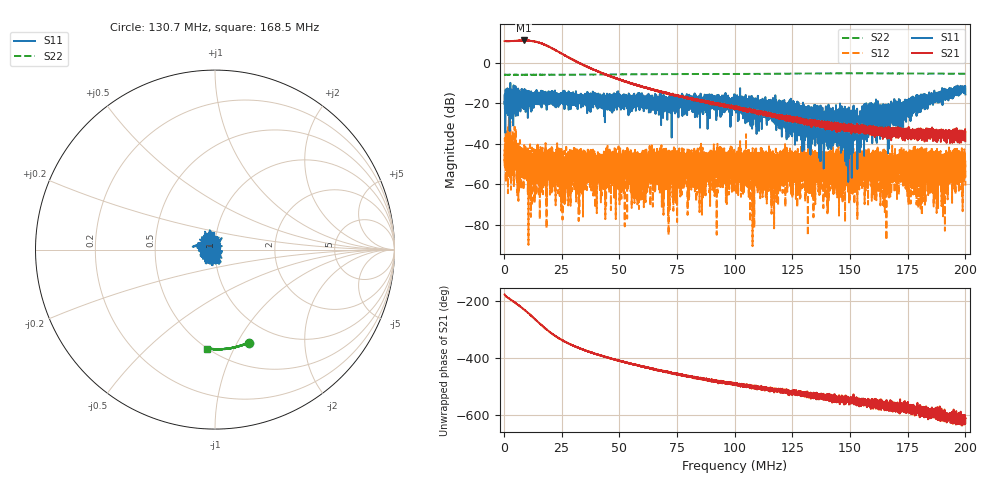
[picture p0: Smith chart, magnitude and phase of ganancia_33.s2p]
# Hz S DB R 50
! CMT, M5065, 19127446, 24.2.4/2
! Date: 11/8/2024 4:04:07 PM
! Data: Format (Calibration Info)
! Freq	S11:dB/Ang(F2)	S21:dB/Ang(F2)	S12:dB/Ang(F2)	S22:dB/Ang(F2)
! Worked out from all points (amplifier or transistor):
!   9000 points, 300 kHz to 200 MHz, reference 50 ohm
!   highest |S21| = 11.2 dB at 8.666 MHz (marker M1)
!   |S21| within 3 dB of that: start of sweep to 19.33 MHz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
!   unconditionally stable (mu >= 1): start of sweep to end of sweep
!   at 33.59 MHz: K = 83.21, MAG = 0.9 dB, |S12| = -46.8 dB
!   at 100.2 MHz: K = 2226.56, MAG = -20.6 dB, |S12| = -53.9 dB
!   at 200 MHz: K = 32137.77, MAG = -37.1 dB, |S12| = -60.7 dB
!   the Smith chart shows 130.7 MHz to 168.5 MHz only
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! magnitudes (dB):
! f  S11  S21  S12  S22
! 300 kHz  -19.1  10.8  -51.1  -5.9
! 1.609 MHz  -18.4  10.8  -48.4  -5.8
! 6.536 MHz  -17.8  11.0  -43.0  -5.9
! 8.666 MHz  -17.1  11.2  -54.8  -5.8
! 12.42 MHz  -15.1  10.8  -44.3  -5.8
! 33.59 MHz  -17.3  -0.5  -46.8  -5.7
! 66.87 MHz  -18.3  -13.9  -52.5  -5.5
! 100.2 MHz  -20.8  -22.1  -53.9  -5.4
! 133.4 MHz  -26.4  -30.2  -51.1  -5.2
! 135.3 MHz  -34.0  -30.5  -50.2  -5.2
! 139.4 MHz  -25.1  -31.0  -61.2  -5.1
! 144.2 MHz  -26.8  -31.7  -42.9  -5.1
! 146.1 MHz  -30.1  -30.9  -51.5  -5.1
! 152.2 MHz  -25.4  -32.5  -59.3  -5.1
! 154.1 MHz  -35.1  -33.6  -57.9  -5.1
! 156.1 MHz  -22.2  -31.5  -47.7  -5.1
! 166.7 MHz  -23.5  -34.3  -47.9  -5.1
! 178.5 MHz  -18.2  -33.8  -46.8  -5.2
! 190.2 MHz  -16.7  -34.1  -45.4  -5.3
! 196.7 MHz  -13.6  -34.9  -48.9  -5.3
! 198.9 MHz  -13.1  -36.7  -46.5  -5.3
! 200 MHz  -15.5  -38.7  -60.7  -5.3
